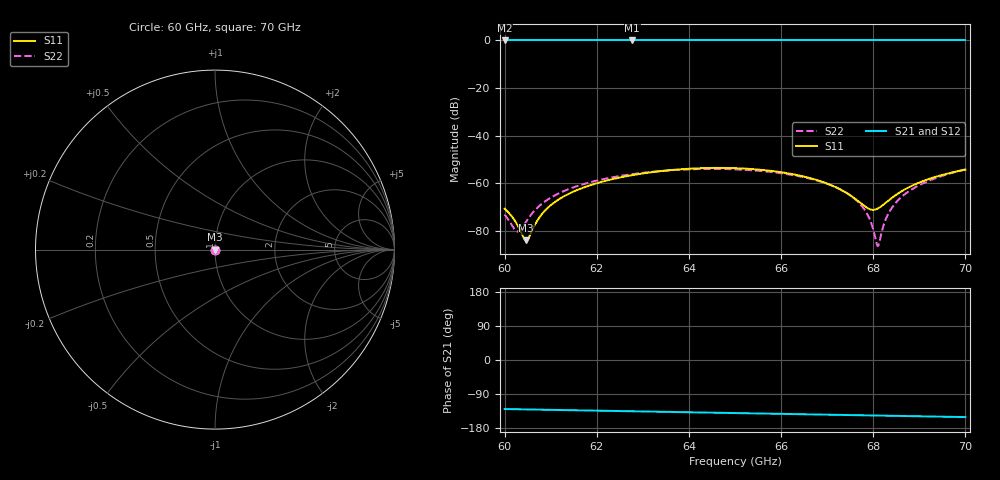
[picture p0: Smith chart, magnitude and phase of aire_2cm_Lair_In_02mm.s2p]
! TOUCHSTONE file generated by CST MICROWAVE STUDIO
! Date and time: Fri Mar  8 11:35:18 2024
! Project name: aire_def.cst
! Parameters = {d=9.1}
! Header version: 2018
! Port assignment regex: !\s*Touchstone port\s*([0-9]+)\s*=\s*(CST MWS port|CST DS port)\s*([0-9]+|Zmin|Zmax)\s*\(\"(.*)\"\)(\s*mode\s*([0-9]+))?.*
! Touchstone port assignment:
! Touchstone port 1 = CST MWS port 1 ("")
! Touchstone port 2 = CST MWS port 2 ("")
# GHz S MA R 376.7
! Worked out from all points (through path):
!   1001 points, 60 GHz to 70 GHz, reference 376.7 ohm
!   highest |S21| = 0.00 dB at 62.77 GHz (marker M1); lowest = 0.0 dB at 60 GHz (marker M2)
!   group delay of S21, straight-line fit = 5.9 ps
!   lowest |S11| = -83.9 dB at 60.47 GHz (marker M3), VSWR 1.00, Z = 377 - j0.0407 ohm
!   |S11| at or under -10 dB: start of sweep to end of sweep
!   |S22| runs from -86.3 to -53.9 dB; largest |S21 - S12| = 0.001
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60  0.0002953 -42.9  0.9995 -129.4  1 -129.4  0.0002226 -11.1
60.27  0.0001396 -58.3  0.9996 -130.0  1 -130.0  9.884e-05 45.0
60.36  9.348e-05 -74.4  0.9996 -130.2  1 -130.2  0.0001103 79.0
60.47  6.388e-05 -122.3  0.9996 -130.4  1 -130.4  0.0001605 103.8
60.59  0.0001 -172.3  0.9997 -130.7  1 -130.7  0.0002322 116.2
60.93  0.0003041 159.1  0.9997 -131.4  1 -131.4  0.0004561 127.8
61.25  0.0005134 153.1  0.9998 -132.1  1 -132.1  0.0006701 130.9
61.67  0.0007936 149.0  0.9998 -133.0  1 -133.0  0.0009441 132.0
62.77  0.001497 142.3  1 -135.3  1 -135.3  0.00157 130.7
63.34  0.001797 139.3  1 -136.5  1 -136.5  0.001809 129.1
65  0.002095 132.4  1 -140.1  1 -140.1  0.001982 123.7
65.9  0.001779 131.5  1 -142.0  0.9996 -142.0  0.001691 121.0
66.67  0.001264 134.3  1 -143.6  0.9992 -143.6  0.001234 118.8
67.2  0.0008235 141.3  1 -144.7  0.9991 -144.8  0.0008252 116.9
67.58  0.000499 155.9  1 -145.5  0.9992 -145.6  0.000495 114.3
67.82  0.0003306 179.9  1 -146.0  0.9992 -146.1  0.0002743 109.5
68.05  0.0002851 -136.4  1 -146.5  0.9993 -146.6  6.866e-05 74.7
68.18  0.0003361 -113.6  1 -146.8  0.9993 -146.9  9.31e-05 -29.1
68.34  0.0004469 -95.7  1 -147.1  0.9994 -147.2  0.0002446 -49.0
68.57  0.0006449 -82.2  1 -147.6  0.9994 -147.7  0.0004767 -54.6
68.91  0.0009623 -72.5  1 -148.4  0.9996 -148.4  0.0008289 -57.0
70  0.001955 -60.7  1 -150.6  1 -150.7  0.001975 -58.2
